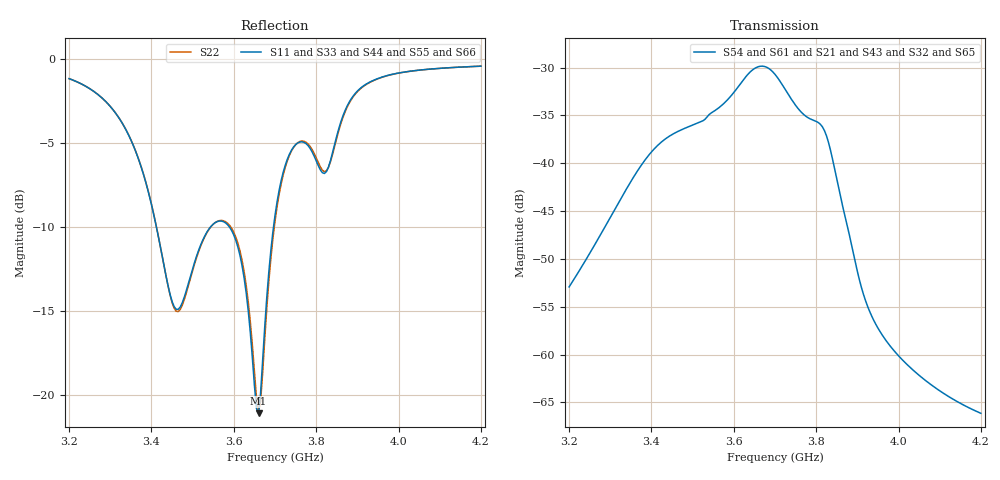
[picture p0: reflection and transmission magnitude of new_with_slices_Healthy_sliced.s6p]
! Touchstone file exported from HFSS 2024.2.0
!  File:  D:/Jatin/new_with_slices.aedt
!  Generated:  09:02:21 PM Oct  3, 2026
!  Design:  Healthy_sliced
!  Project:  new_with_slices
!  Setup:  Setup1
!  Solution:  Sweep
! Variables:
!  $L = 85mm
!  $W = 35mm
!  H = 1.575mm
!  L = 42mm
!  W = 35mm
!  Wb = 6mm
!  a = 3.5mm
!  ant_dist = 115mm
!  ant_gap = 3mm
!  b = 5mm
!  c = 5mm
!  d = 2mm
!  e_S1 = 0mm
!  e_S2 = 0mm
!  e_S3 = 0mm
!  e_S4 = 0mm
!  e_S5 = 0mm
!  e_S6 = 0mm
!  g1 = 2mm
!  g2 = 2mm
!  g3 = 1mm
!  g4 = 2mm
!  gap = 10mm
!  r1 = 3.5mm
!  r2 = 6mm
!  r_brain = 95mm
!  r_brain_ad = 61.68mm
!  r_csf = 95.5mm
!  r_csf_expanded = 64.6mm
!  r_csf_inner = 61.68mm
!  r_csf_outer = 83.5mm
!  r_fat = 87.5mm
!  r_gray = 70.55mm
!  r_gray_healthy = 83mm
!  r_grey_healthy = 83mm
!  r_hip = 25mm
!  r_hippo_healthy = 25mm
!  r_skin = 88mm
!  r_skull = 86.5mm
!  r_white = 17.5mm
!  r_white_healthy = 76mm
!  slot_distance = 15mm
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# GHz S MA R 50.000000
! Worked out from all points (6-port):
!   201 points, 3.2 GHz to 4.2 GHz, reference 50 ohm
!   strongest paths, dB at 3.2 GHz, 3.45 GHz, 3.7 GHz, 3.95 GHz, 4.2 GHz:
!     S54: -52.9, -37.0, -30.7, -57.2, -66.1
!     S61: -52.9, -37.0, -30.7, -57.3, -66.3
!     S21: -53.0, -37.0, -30.6, -57.2, -66.3
!     S43: -53.0, -37.0, -30.7, -57.3, -66.4
!     S32: -53.0, -37.1, -30.7, -57.4, -66.4
!     S65: -53.0, -37.1, -30.8, -57.2, -66.5
!   lowest |S11| = -21.1 dB at 3.66 GHz (marker M1), VSWR 1.19, Z = 44.7 - j6.5 ohm
!   |S11| at or under -10 dB: 3.412 GHz to 3.543 GHz (131.5 MHz wide, 3.78 % of centre); 3.589 GHz to 3.696 GHz (107.1 MHz wide, 2.94 % of centre)
